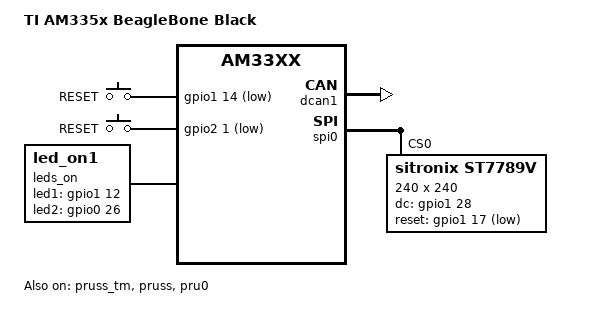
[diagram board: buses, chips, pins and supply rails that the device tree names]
// SPDX-License-Identifier: GPL-2.0-only
/*
 * Copyright (C) 2012 Texas Instruments Incorporated - https://www.ti.com/
 */
/dts-v1/;

#include "am33xx.dtsi"
#include "am335x-bone-common.dtsi"
#include "am335x-boneblack-common.dtsi"
#include "am335x-boneblack-hdmi.dtsi"
//#include "am33xx-l4.dtsi"
#include <dt-bindings/input/input.h>


/ {
	model = "TI AM335x BeagleBone Black";
	compatible = "ti,am335x-bone-black", "ti,am335x-bone", "ti,am33xx";

	buttons_led {

		compatible = "gpio-keys";

		button1 {
			label = "RESET";
			linux,code = <KEY_1>;
			gpios = <&gpio1 14 GPIO_ACTIVE_LOW>; /* P8_16 */
			debounce-interval = <10>;
		};

		button2 {
			label = "RESET";
			linux,code = <KEY_2>;
			gpios = <&gpio2 1 GPIO_ACTIVE_LOW>; /* P8_18 */
			debounce-interval = <10>;
		};
	};

	leds_on {
		compatible = "led_on1";
		gpio_led1 = <&gpio1 12 GPIO_ACTIVE_HIGH>; /* P8_12 */
		gpio_led2 = <&gpio0 26 GPIO_ACTIVE_HIGH>; /* P8_14 */
	};

	
};

&cpu0_opp_table {
	/*
	 * All PG 2.0 silicon may not support 1GHz but some of the early
	 * BeagleBone Blacks have PG 2.0 silicon which is guaranteed
	 * to support 1GHz OPP so enable it for PG 2.0 on this board.
	 */
	oppnitro-1000000000 {
		opp-supported-hw = <0x06 0x0100>;
	};
};




&gpio0 {
	gpio-line-names =
		"[mdio_data]",
		"[mdio_clk]",
		"P9_22 [spi0_sclk]",
		"P9_21 [spi0_d0]",
		"P9_18 [spi0_d1]",
		"P9_17 [spi0_cs0]",
		"[mmc0_cd]",
		"P8_42A [ecappwm0]",
		"P8_35 [lcd d12]",
		"P8_33 [lcd d13]",
		"P8_31 [lcd d14]",
		"P8_32 [lcd d15]",
		"P9_20 [i2c2_sda]",
		"P9_19 [i2c2_scl]",
		"P9_26 [uart1_rxd]",
		"P9_24 [uart1_txd]",
		"[rmii1_txd3]",
		"[rmii1_txd2]",
		"[usb0_drvvbus]",
		"[hdmi cec]",
		"P9_41B",
		"[rmii1_txd1]",
		"P8_19 [ehrpwm2a]",
		"P8_13 [ehrpwm2b]",
		"NC",
		"NC",
		"P8_14",
		"P8_17",
		"[rmii1_txd0]",
		"[rmii1_refclk]",
		"P9_11 [uart4_rxd]",
		"P9_13 [uart4_txd]";
};

&gpio1 {
	gpio-line-names =
		"P8_25 [mmc1_dat0]",
		"[mmc1_dat1]",
		"P8_5 [mmc1_dat2]",
		"P8_6 [mmc1_dat3]",
		"P8_23 [mmc1_dat4]",
		"P8_22 [mmc1_dat5]",
		"P8_3 [mmc1_dat6]",
		"P8_4 [mmc1_dat7]",
		"NC",
		"NC",
		"NC",
		"NC",
		"P8_12",
		"P8_11",
		"P8_16",
		"P8_15",
		"P9_15A",
		"P9_23",
		"P9_14 [ehrpwm1a]",
		"P9_16 [ehrpwm1b]",
		"[emmc rst]",
		"[usr0 led]",
		"[usr1 led]",
		"[usr2 led]",
		"[usr3 led]",
		"[hdmi irq]",
		"[usb vbus oc]",
		"[hdmi audio]",
		"P9_12",
		"P8_26",
		"P8_21 [emmc]",
		"P8_20 [emmc]";
};

&gpio2 {
	gpio-line-names =
		"P9_15B",
		"P8_18",
		"P8_7",
		"P8_8",
		"P8_10",
		"P8_9",
		"P8_45 [hdmi]",
		"P8_46 [hdmi]",
		"P8_43 [hdmi]",
		"P8_44 [hdmi]",
		"P8_41 [hdmi]",
		"P8_42 [hdmi]",
		"P8_39 [hdmi]",
		"P8_40 [hdmi]",
		"P8_37 [hdmi]",
		"P8_38 [hdmi]",
		"P8_36 [hdmi]",
		"P8_34 [hdmi]",
		"[rmii1_rxd3]",
		"[rmii1_rxd2]",
		"[rmii1_rxd1]",
		"[rmii1_rxd0]",
		"P8_27 [hdmi]",
		"P8_29 [hdmi]",
		"P8_28 [hdmi]",
		"P8_30 [hdmi]",
		"[mmc0_dat3]",
		"[mmc0_dat2]",
		"[mmc0_dat1]",
		"[mmc0_dat0]",
		"[mmc0_clk]",
		"[mmc0_cmd]";
};

&gpio3 {
	gpio-line-names =
		"[mii col]",
		"[mii crs]",
		"[mii rx err]",
		"[mii tx en]",
		"[mii rx dv]",
		"[i2c0 sda]",
		"[i2c0 scl]",
		"[jtag emu0]",
		"[jtag emu1]",
		"[mii tx clk]",
		"[mii rx clk]",
		"NC",
		"NC",
		"[usb vbus en]",
		"P9_31 [spi1_sclk]",
		"P9_29 [spi1_d0]",
		"P9_30 [spi1_d1]",
		"P9_28 [spi1_cs0]",
		"P9_42B [ecappwm0]",
		"P9_27",
		"P9_41A",
		"P9_25",
		"NC",
		"NC",
		"NC",
		"NC",
		"NC",
		"NC",
		"NC",
		"NC",
		"NC",
		"NC";
};

&baseboard_eeprom {
	vcc-supply = <&ldo4_reg>;
};

&am33xx_pinmux {
	
    bbb_spi0_pins: pinmux_bbb_spi0_pins {
        pinctrl-single,pins = <
            /* SPI0 */
            AM33XX_PADCONF(AM335X_PIN_SPI0_SCLK, PIN_INPUT_PULLUP, MUX_MODE0)   /* P9_22 (SCL/SCK) */
            AM33XX_PADCONF(AM335X_PIN_SPI0_D0,   PIN_INPUT_PULLUP, MUX_MODE0)   /* P9_21 (MISO) */
            AM33XX_PADCONF(AM335X_PIN_SPI0_D1,   PIN_INPUT_PULLUP, MUX_MODE0)   /* P9_18 (MOSI/SDA) */
            AM33XX_PADCONF(AM335X_PIN_SPI0_CS0,  PIN_INPUT_PULLUP, MUX_MODE0)   /* P9_17 (CS0) */

            /* GPIO control pins */
            AM33XX_PADCONF(AM335X_PIN_GPMC_BEN1, PIN_OUTPUT, MUX_MODE7)         /* DC: P9_12 (GPIO1_28) */
            AM33XX_PADCONF(AM335X_PIN_GPMC_A1,   PIN_OUTPUT, MUX_MODE7)         /* RST: P9_23 (GPIO1_17) */


        >;
    };

	    bbb_can1_pins: pinmux_bbb_can1_pins {
        pinctrl-single,pins = <
			/* GPIO can */
            AM33XX_PADCONF(AM335X_PIN_UART1_TXD, PIN_INPUT, MUX_MODE2)         /* P9_24 CAN 1 RX*/
            AM33XX_PADCONF(AM335X_PIN_UART1_RXD,   PIN_OUTPUT, MUX_MODE2)      /* P9_26 CAN 1 TX */
        >;
    };

	 pru0_enc_pwm_pins: pinmux_pru0_enc_pwm_pins {
        pinctrl-single,pins = <

            /* Encoder 0: A/B (input) */
            AM33XX_PADCONF(AM335X_PIN_GPMC_AD12, PIN_INPUT, MUX_MODE6)   /* P8_12 -> pr1_pru0_pru_r31_12 */
            AM33XX_PADCONF(AM335X_PIN_GPMC_AD13, PIN_INPUT, MUX_MODE6)   /* P8_11 -> pr1_pru0_pru_r31_13 */

            /* Encoder 1: A/B (input) */
            AM33XX_PADCONF(AM335X_PIN_GPMC_AD14, PIN_INPUT, MUX_MODE6)   /* P8_16 -> pr1_pru0_pru_r31_14 */
            AM33XX_PADCONF(AM335X_PIN_GPMC_AD15, PIN_INPUT, MUX_MODE6)   /* P8_15 -> pr1_pru0_pru_r31_15 */
			/* plush pwm */
            AM33XX_PADCONF(AM335X_PIN_LCD_VSYNC, PIN_OUTPUT, MUX_MODE5)  /* P9_27 -> pr1_pru0_pru_r30_0 */
        >;
    };


};

&dcan1{
	status = "okay";
    pinctrl-names = "default";
    pinctrl-0 = <&bbb_can1_pins>;

};

&spi0 {
    status = "okay";
    pinctrl-names = "default";
    pinctrl-0 = <&bbb_spi0_pins>;

    st7789v@0 {
        reg = <0>;
        compatible = "sitronix,st7789v";
        width = <240>;
        height = <240>;
		buswidth = <8>;

        dc-gpios = <&gpio1 28 GPIO_ACTIVE_HIGH>;   /* DC pin: P9_12 */
        reset-gpios = <&gpio1 17 GPIO_ACTIVE_LOW>; /* RST pin: P9_23 */
    };
};

&pruss_tm {
    status = "okay";
};

&pruss {
    status = "okay";
};

&pru0 {
    status = "okay";
    firmware-name = "am335x-pru0-fw";   

};

&pru1 {
    status = "disabled";

};


&lcdc {
    status = "disabled";
};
